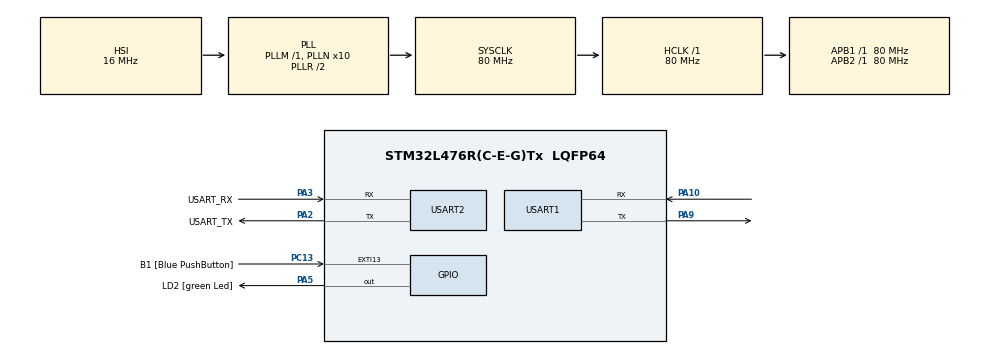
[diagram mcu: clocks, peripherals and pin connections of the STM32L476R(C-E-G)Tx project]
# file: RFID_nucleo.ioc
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Mcu.Family=STM32L4
RCC.MSI_VALUE=4000000
RCC.PLLSourceVirtual=RCC_PLLSOURCE_HSI
PA2.GPIO_PuPd=GPIO_NOPULL
RCC.CortexFreq_Value=80000000
PA10.Mode=Asynchronous
PH0-OSC_IN\ (PH0).Signal=RCC_OSC_IN
PC13.Signal=GPXTI13
PA3.GPIO_PuPd=GPIO_NOPULL
PA2.GPIO_Speed=GPIO_SPEED_FREQ_VERY_HIGH
PC15-OSC32_OUT\ (PC15).Signal=RCC_OSC32_OUT
PC15-OSC32_OUT\ (PC15).Mode=LSE-External-Oscillator
PA14\ (JTCK-SWCLK).GPIO_Label=TCK
PB3\ (JTDO-TRACESWO).GPIO_Label=SWO
PC13.GPIO_Label=B1 [Blue PushButton]
PA3.GPIO_Speed=GPIO_SPEED_FREQ_VERY_HIGH
PH1-OSC_OUT\ (PH1).Signal=RCC_OSC_OUT
RCC.SYSCLKSource=RCC_SYSCLKSOURCE_PLLCLK
ProjectManager.StackSize=0x400
PB3\ (JTDO-TRACESWO).Signal=SYS_JTDO-SWO
PC14-OSC32_IN\ (PC14).Mode=LSE-External-Oscillator
PA14\ (JTCK-SWCLK).Signal=SYS_JTCK-SWCLK
USART1.VirtualMode-Asynchronous=VM_ASYNC
PA3.Mode=Asynchronous
PA9.Mode=Asynchronous
ProjectManager.TargetToolchain=STM32CubeIDE
PA3.GPIO_Mode=GPIO_MODE_AF_PP
RCC.HCLKFreq_Value=80000000
RCC.APB2TimFreq_Value=80000000
PA9.Signal=USART1_TX
RCC.USBFreq_Value=64000000
RCC.AHBFreq_Value=80000000
RCC.PREFETCH_ENABLE=1
PA5.Signal=GPIO_Output
RCC.HSE_VALUE=8000000
board=NUCLEO-L476RG
USART2.VirtualMode-Asynchronous=VM_ASYNC
RCC.VCOOutputFreq_Value=160000000
RCC.APB2Freq_Value=80000000
PA5.GPIO_ModeDefaultOutputPP=GPIO_MODE_OUTPUT_PP
PA13\ (JTMS-SWDIO).GPIO_Label=TMS
PA5.GPIO_PuPd=GPIO_NOPULL
RCC.ADCFreq_Value=64000000
PC13.GPIO_PuPd=GPIO_NOPULL
Mcu.Name=STM32L476R(C-E-G)Tx
PA2.Signal=USART2_TX
RCC.SYSCLKFreq_VALUE=80000000
Mcu.Package=LQFP64
PA5.GPIO_Label=LD2 [green Led]
PC13.GPIO_ModeDefaultEXTI=GPIO_MODE_IT_FALLING
PC14-OSC32_IN\ (PC14).Signal=RCC_OSC32_IN
PA2.GPIO_Label=USART_TX
PA10.Signal=USART1_RX
ProjectManager.HeapSize=0x200
RCC.HSI_VALUE=16000000
PA5.GPIO_Speed=GPIO_SPEED_FREQ_LOW
NVIC.PriorityGroup=NVIC_PRIORITYGROUP_4
RCC.PLLN=10
RCC.APB1TimFreq_Value=80000000
PA2.Mode=Asynchronous
PA13\ (JTMS-SWDIO).Signal=SYS_JTMS-SWDIO
RCC.APB1Freq_Value=80000000
PA3.GPIO_Label=USART_RX
PA3.Signal=USART2_RX
PA2.GPIO_Mode=GPIO_MODE_AF_PP

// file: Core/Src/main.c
/* USER CODE BEGIN Header */
/**
  ******************************************************************************
  * @file           : main.c
  * @brief          : Main program body
  ******************************************************************************
  * @attention
  *
  * <h2><center>&copy; Copyright (c) 2022 STMicroelectronics.
  * All rights reserved.</center></h2>
  *
  * This software component is licensed by ST under BSD 3-Clause license,
  * the "License"; You may not use this file except in compliance with the
  * License. You may obtain a copy of the License at:
  *                        opensource.org/licenses/BSD-3-Clause
  *
  ******************************************************************************
  */
/* USER CODE END Header */
#include "main.h"
#include "usart.h"
#include "gpio.h"

/* USER CODE BEGIN Includes */
#include <stdlib.h>
#include <string.h>
#include <stdio.h>
/* USER CODE END Includes */

/* USER CODE BEGIN PV */
const uint8_t RFID_cmdnub[40][26] =
  {
    {0xBB, 0x00, 0x03, 0x00, 0x01, 0x00, 0x04, 0x7E,},       //0. Hardware version
    {0xBB, 0x00, 0x03, 0x00, 0x01, 0x01, 0x05, 0x7E,},       //1. Software version
    {0xBB, 0x00, 0x03, 0x00, 0x01, 0x02, 0x06, 0x7E,},       //2. manufacturers
    {0xBB, 0x00, 0x22, 0x00, 0x00, 0x22, 0x7E,},             //3. Single polling instruction
    {0xBB, 0x00, 0x27, 0x00, 0x03, 0x22, 0x27, 0x10, 0x83, 0x7E,}, //4. Multiple polling instructions
    {0xBB, 0x00, 0x28, 0x00, 0x00, 0x28, 0x7E,},             //5. Stop multiple polling instructions
    { 0xBB, 0x00, 0x0C, 0x00, 0x13, 0x01, 0x00, 0x00, 0x00, 0x20,
      0x60, 0x00, 0x30, 0x75, 0x1F, 0xEB, 0x70, 0x5C, 0x59, 0x04,
      0xE3, 0xD5, 0x0D, 0x70, 0xAD, 0x7E,
    },                        //6. Set the SELECT parameter instruction
    {0xBB, 0x00, 0x0B, 0x00, 0x00, 0x0B, 0x7E,},              //7. Get the SELECT parameter
    {0xBB, 0x00, 0x12, 0x00, 0x01, 0x01, 0x14, 0x7E,},        //8. Set the SELECT mode
    { 0xBB, 0x00, 0x39, 0x00, 0x09, 0x00, 0x00, 0x00, 0x00, 0x03,
      0x00, 0x00, 0x00, 0x08, 0x4D, 0x7E,
    },                      //9. Read label data storage area
    { 0xBB, 0x00, 0x49, 0x00, 0x11, 0x00, 0x00, 0x00, 0x00, 0x03,
      0x00, 0x00, 0x00, 0x04, 0x22, 0x22, 0x22, 0x22, 0x22, 0x22, 0x22, 0x22, 0x71, 0x7E
    },   //10. Write the label data store
    { 0xBB, 0x00, 0x82, 0x00, 0x07, 0x00, 0x00, 0xFF,
      0xFF, 0x02, 0x00, 0x80, 0x09, 0x7E,
    },                       //11. Lock the LOCK label data store
    { 0xBB, 0x00, 0x65, 0x00, 0x04, 0x00, 0x00, 0xFF, 0xFF, 0x67,
      0x7E,
    },                                                //12. Inactivate the kill tag
    {0xBB, 0x00, 0x11, 0x00, 0x02, 0x00, 0xC0, 0xD3, 0x7E,}, //13. Set communication baud rate
    {0xBB, 0x00, 0x0D, 0x00, 0x00, 0x0D, 0x7E,},            //14. Get parameters related to the Query command
    {0xBB, 0x00, 0x0E, 0x00, 0x02, 0x10, 0x20, 0x40, 0x7E,}, //15. Set the Query parameter
    {0xBB, 0x00, 0x07, 0x00, 0x01, 0x01, 0x09, 0x7E,},      //16. Set up work area
    {0xBB, 0x00, 0x08, 0x00, 0x00, 0x08, 0x7E,},            //17. Acquire work locations
    {0xBB, 0x00, 0xAB, 0x00, 0x01, 0x01, 0xAC, 0x7E,},      //18. Set up working channel
    {0xBB, 0x00, 0xAA, 0x00, 0x00, 0xAA, 0x7E,},            //19. Get the working channel
    {0xBB, 0x00, 0xAD, 0x00, 0x01, 0xFF, 0xAD, 0x7E,},      //20. Set to automatic frequency hopping mode
    { 0xBB, 0x00, 0xA9, 0x00, 0x06, 0x05, 0x01, 0x02,
      0x03, 0x04, 0x05, 0xC3, 0x7E,
    },                             //21. Insert the working channel
    {0xBB, 0x00, 0xB7, 0x00, 0x00, 0xB7, 0x7E,},            //22. Acquire transmitting power
    {0xBB, 0x00, 0xB6, 0x00, 0x02, 0x07, 0xD0, 0x8F, 0x7E,}, //23. Set the transmitting power
    {0xBB, 0x00, 0xB0, 0x00, 0x01, 0xFF, 0xB0, 0x7E,},      //24. Set up transmitting continuous carrier
    {0xBB, 0x00, 0xF1, 0x00, 0x00, 0xF1, 0x7E,},            //25. Gets the receiving demodulator parameters
    {0xBB, 0x00, 0xF0, 0x00, 0x04, 0x03, 0x06, 0x01, 0xB0, 0xAE, 0x7E,}, //26. Set the receiving demodulator parameters
    {0xBB, 0x00, 0xF2, 0x00, 0x00, 0xF2, 0x7E,},            //27. Test the RF input block signal
    {0xBB, 0x00, 0xF3, 0x00, 0x00, 0xF3, 0x7E,},            //28. Test the RSSI signal at the RF input
    {0x00},
    {0xBB, 0x00, 0x17, 0x00, 0x00, 0x17, 0x7E,},            //30. Module hibernation
    {0xBB, 0x00, 0x1D, 0x00, 0x01, 0x02, 0x20, 0x7E,},      //31. Idle hibernation time of module
    {0xBB, 0x00, 0x04, 0x00, 0x03, 0x01, 0x01, 0x03, 0x0C, 0x7E,}, //32. The IDLE mode
    {0xBB, 0x00, 0xE1, 0x00, 0x05, 0x00, 0x00, 0xFF, 0xFF, 0x00, 0xE4, 0x7E,}, //33.NXP G2X label supports ReadProtect/Reset ReadProtect command
    {0xBB, 0x00, 0xE3, 0x00, 0x05, 0x00, 0x00, 0xFF, 0xFF, 0x01, 0xE7, 0x7E,}, //34. The NXP G2X label supports the CHANGE EAS directive
    {0xBB, 0x00, 0xE4, 0x00, 0x00, 0xE4, 0x7E,},            //35. The NXP G2X tag supports the EAS_ALARM directive
    {0xBB, 0x00, 0xE0, 0x00, 0x06, 0x00, 0x00, 0xFF, 0xFF, 0x00, 0x00, 0xE4, 0x7E,}, //36.NXP G2X label 16bits config-word
    { 0xBB, 0x00, 0xE5, 0x00, 0x08, 0x00, 0x00, 0xFF,
      0xFF, 0x01, 0x01, 0x40, 0x00, 0x2D, 0x7E,
    },                   //37.Impinj Monza 4 Qt tags support Qt instructions
    { 0xBB, 0x00, 0xD3, 0x00, 0x0B, 0x00, 0x00, 0xFF,
      0xFF, 0x01, 0x03, 0x00, 0x00, 0x01, 0x07, 0x00, 0xE8, 0x7E,
    },   //38.The BlockPermalock directive permanently locks blocks of a user's Block
    {0xBB, 0x00, 0x27, 0x00, 0x03, 0x22, 0x00, 0x14, 0x60, 0x7E} // 39. multiscan x20
  };
/* USER CODE END PV */

void SystemClock_Config(void);
/* USER CODE BEGIN PFP */
void Sendcommand(uint8_t com_nub);
void Readcallback();
/* USER CODE END PFP */

int main(void)
{

  /* MCU Configuration--------------------------------------------------------*/

  /* Reset of all peripherals, Initializes the Flash interface and the Systick. */
  HAL_Init();

  /* Configure the system clock */
  SystemClock_Config();

  /* Initialize all configured peripherals */
  MX_GPIO_Init();
  MX_USART1_UART_Init();
  MX_USART2_UART_Init();

  /* Infinite loop */
  /* USER CODE BEGIN WHILE */

  uint8_t msg[256];

  while (1)
  {
	  uint8_t data[] = "HELLO WORLD123 \r\n";

	  Sendcommand(3);

	  Readcallback();

	  HAL_GPIO_TogglePin(GPIOA, GPIO_PIN_5);
//	  HAL_Delay(1000);
    /* USER CODE END WHILE */

  }
}

void SystemClock_Config(void)
{
  RCC_OscInitTypeDef RCC_OscInitStruct = {0};
  RCC_ClkInitTypeDef RCC_ClkInitStruct = {0};
  RCC_PeriphCLKInitTypeDef PeriphClkInit = {0};

  /** Initializes the RCC Oscillators according to the specified parameters
  * in the RCC_OscInitTypeDef structure.
  */
  RCC_OscInitStruct.OscillatorType = RCC_OSCILLATORTYPE_HSI;
  RCC_OscInitStruct.HSIState = RCC_HSI_ON;
  RCC_OscInitStruct.HSICalibrationValue = RCC_HSICALIBRATION_DEFAULT;
  RCC_OscInitStruct.PLL.PLLState = RCC_PLL_ON;
  RCC_OscInitStruct.PLL.PLLSource = RCC_PLLSOURCE_HSI;
  RCC_OscInitStruct.PLL.PLLM = 1;
  RCC_OscInitStruct.PLL.PLLN = 10;
  RCC_OscInitStruct.PLL.PLLP = RCC_PLLP_DIV7;
  RCC_OscInitStruct.PLL.PLLQ = RCC_PLLQ_DIV2;
  RCC_OscInitStruct.PLL.PLLR = RCC_PLLR_DIV2;
  if (HAL_RCC_OscConfig(&RCC_OscInitStruct) != HAL_OK)
  {
    Error_Handler();
  }
  /** Initializes the CPU, AHB and APB buses clocks
  */
  RCC_ClkInitStruct.ClockType = RCC_CLOCKTYPE_HCLK|RCC_CLOCKTYPE_SYSCLK
                              |RCC_CLOCKTYPE_PCLK1|RCC_CLOCKTYPE_PCLK2;
  RCC_ClkInitStruct.SYSCLKSource = RCC_SYSCLKSOURCE_PLLCLK;
  RCC_ClkInitStruct.AHBCLKDivider = RCC_SYSCLK_DIV1;
  RCC_ClkInitStruct.APB1CLKDivider = RCC_HCLK_DIV1;
  RCC_ClkInitStruct.APB2CLKDivider = RCC_HCLK_DIV1;

  if (HAL_RCC_ClockConfig(&RCC_ClkInitStruct, FLASH_LATENCY_4) != HAL_OK)
  {
    Error_Handler();
  }
  PeriphClkInit.PeriphClockSelection = RCC_PERIPHCLK_USART1|RCC_PERIPHCLK_USART2;
  PeriphClkInit.Usart1ClockSelection = RCC_USART1CLKSOURCE_PCLK2;
  PeriphClkInit.Usart2ClockSelection = RCC_USART2CLKSOURCE_PCLK1;
  if (HAL_RCCEx_PeriphCLKConfig(&PeriphClkInit) != HAL_OK)
  {
    Error_Handler();
  }
  /** Configure the main internal regulator output voltage
  */
  if (HAL_PWREx_ControlVoltageScaling(PWR_REGULATOR_VOLTAGE_SCALE1) != HAL_OK)
  {
    Error_Handler();
  }
}

/* USER CODE BEGIN 4 */

void Sendcommand(uint8_t com_nub)
{
  uint8_t b = 5; //start from 5, because there's no command which is shorter than 5 digits
  while (RFID_cmdnub[com_nub][b] != 0x7E)
  {
    b++;
  }
  HAL_UART_Transmit (&huart1, RFID_cmdnub[com_nub], b+1, 10);

}

void Readcallback()
{
	  uint8_t buffer[1];
	  uint8_t arr[24] = {0};
	  uint8_t i = 0;
	  while (HAL_UART_Receive(&huart1, buffer, 1, 1000) == HAL_OK)
	  {
		  arr[i] = buffer[0]; //add buffer char to array
		  i++;
		  if (arr[i] == 0x7e){
			  HAL_UART_Transmit(&huart2, arr, sizeof(arr), 100);
			  i = 0;
			  memset(arr, 0, sizeof(arr)); // reset arr
		  }
		  if (i==sizeof(arr)){
			  break;
		  }
	  }
//	  print only no tag received message
//	  HAL_UART_Transmit(&huart2, arr, sizeof(arr), 100);
  }
/* USER CODE END 4 */

void Error_Handler(void)
{
  __disable_irq();
  while (1)
  {
  }
}

/************************ (C) COPYRIGHT STMicroelectronics *****END OF FILE****/
